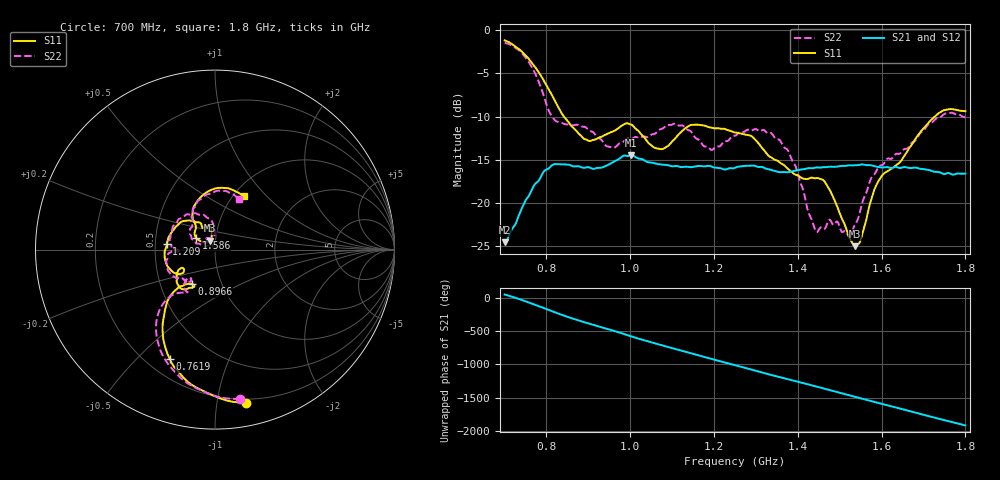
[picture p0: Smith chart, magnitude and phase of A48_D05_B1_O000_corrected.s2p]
! Created with skrf 1.9.0 (http://scikit-rf.org).
# Hz S RI R 50.0
!freq ReS11 ImS11 ReS21 ImS21 ReS12 ImS12 ReS22 ImS22
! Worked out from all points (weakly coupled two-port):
!   1601 points, 700 MHz to 1.8 GHz, reference 50 ohm
!   highest |S21| = -14.46 dB at 1.002 GHz (marker M1); lowest = -24.6 dB at 700.7 MHz (marker M2)
!   lowest |S11| = -25.0 dB at 1.536 GHz (marker M3), VSWR 1.12, Z = 47.2 + j4.7 ohm
!   |S11| at or under -10 dB: 841.4 MHz to 1.727 GHz (885.4 MHz wide, 69 % of centre)
!   |S22| runs from -23.9 to -1.5 dB; largest |S21 - S12| = 0.0035
!   S11 on the Smith chart (normalised r, x): 700 MHz: 0.17, -1.21; 761.9 MHz: 0.29, -0.63; 896.6 MHz: 0.72, -0.29; 1.209 GHz: 0.58, +0.04; 1.586 GHz: 0.80, +0.11; 1.8 GHz: 1.11, +0.75
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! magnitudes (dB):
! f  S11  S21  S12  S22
! 700 MHz  -1.2  -24.6  -24.3  -1.5
! 700.7 MHz  -1.2  -24.6  -24.2  -1.5
! 761.9 MHz  -3.6  -18.8  -18.7  -4.0
! 816.9 MHz  -7.9  -15.5  -15.6  -10.3
! 883.6 MHz  -12.3  -15.9  -15.8  -11.2
! 896.6 MHz  -12.7  -15.9  -15.9  -11.4
! 955.8 MHz  -11.8  -15.4  -15.4  -13.6
! 1.002 GHz  -10.9  -14.5  -14.6  -12.6
! 1.067 GHz  -13.7  -15.5  -15.5  -11.6
! 1.144 GHz  -11.0  -15.9  -15.9  -11.7
! 1.209 GHz  -11.3  -15.9  -16.0  -13.5
! 1.25 GHz  -11.9  -15.9  -15.9  -12.2
! 1.357 GHz  -15.3  -16.4  -16.4  -12.8
! 1.394 GHz  -16.7  -16.3  -16.2  -15.7
! 1.434 GHz  -17.1  -16.0  -15.9  -22.0
! 1.468 GHz  -17.8  -15.9  -15.8  -22.7
! 1.523 GHz  -24.0  -15.6  -15.6  -23.9
! 1.536 GHz  -25.0  -15.6  -15.6  -22.6
! 1.586 GHz  -18.0  -15.8  -15.8  -16.4
! 1.617 GHz  -16.2  -15.9  -15.9  -14.9
! 1.734 GHz  -9.7  -16.4  -16.5  -10.2
! 1.8 GHz  -9.4  -16.6  -16.6  -10.1
